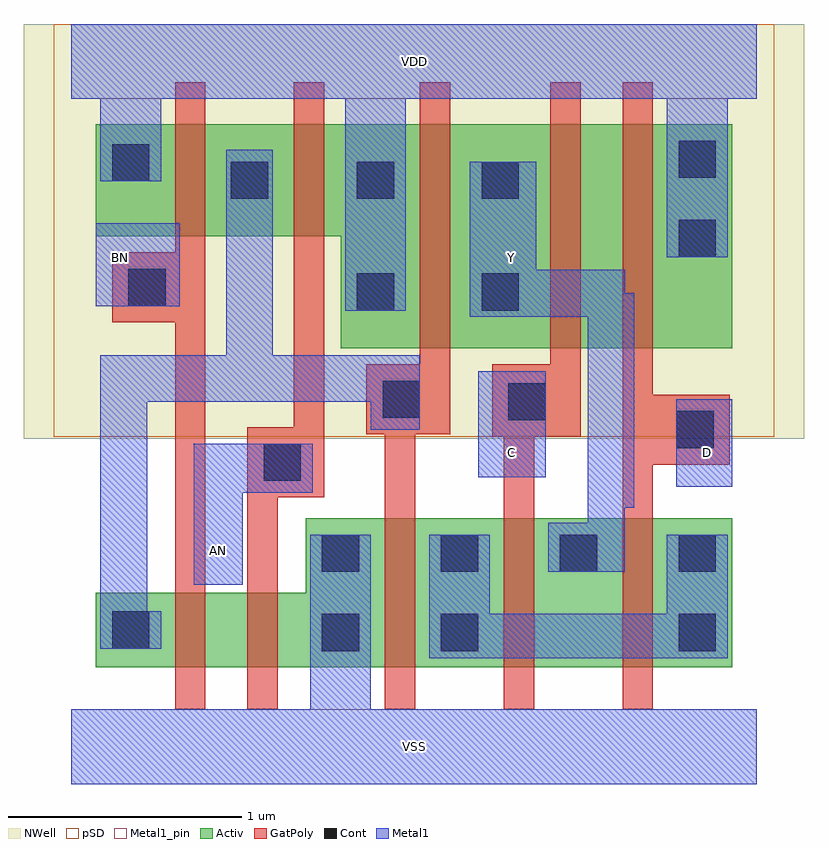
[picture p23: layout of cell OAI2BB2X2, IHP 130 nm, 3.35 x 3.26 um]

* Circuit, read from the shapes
.subckt OAI2BB2X2 AN BN C D VDD VSS Y
XM1 n1 BN n2 VSUBS sg13_lv_nmos w=0.32u l=0.13u
XM2 VSS AN n1 VSUBS sg13_lv_nmos w=0.32u l=0.13u
XM3 n3 n2 VSS VSUBS sg13_lv_nmos w=0.64u l=0.13u
XM4 Y C n3 VSUBS sg13_lv_nmos w=0.64u l=0.13u
XM5 n3 D Y VSUBS sg13_lv_nmos w=0.64u l=0.13u
XM6 n2 BN VDD n4 sg13_lv_pmos w=0.48u l=0.13u
XM7 VDD AN n2 n4 sg13_lv_pmos w=0.48u l=0.13u
XM8 Y n2 VDD n4 sg13_lv_pmos w=0.96u l=0.13u
XM9 n5 C Y n4 sg13_lv_pmos w=0.96u l=0.13u
XM10 VDD D n5 n4 sg13_lv_pmos w=0.96u l=0.13u
.ends

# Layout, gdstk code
import gdstk
lib = gdstk.Library(unit=1e-6, precision=1e-09)
def R(c, l, rs):  # rectangles x0, y0, x1, y1
    for r in rs: c.add(gdstk.rectangle(r[:2], r[2:], *l))
def A(c, l, x, y, w, h, nx, ny, dx, dy):  # array of equal rectangles
    R(c, l, [(x+i*dx, y+j*dy, x+i*dx+w, y+j*dy+h) for i in range(nx) for j in range(ny)])
def P(c, l, *ps):  # polygons
    for p in ps: c.add(gdstk.Polygon(p, *l))
Activ = (1, 0)
GatPoly = (5, 0)
Cont = (6, 0)
Metal1 = (8, 0)
Metal1_pin = (8, 2)
pSD = (14, 0)
NWell = (31, 0)

oai2bb2x2 = lib.new_cell('OAI2BB2X2')
P(oai2bb2x2, Activ, [(0.105,0.34),(0.105,0.66),(1.005,0.66),(1.005,0.98),(2.835,0.98),(2.835,0.34)],
  [(1.155,1.71),(1.155,2.19),(0.105,2.19),(0.105,2.67),(2.835,2.67),(2.835,1.71)])
P(oai2bb2x2, GatPoly, [(1.855,0.16),(1.855,1.33),(1.805,1.33),(1.805,1.64),(2.055,1.64),(2.055,2.85),(2.185,2.85),(2.185,1.33),(1.985,1.33),(1.985,0.16)],
  [(1.345,0.16),(1.345,1.34),(1.265,1.34),(1.265,1.64),(1.495,1.64),(1.495,2.85),(1.625,2.85),(1.625,1.34),(1.475,1.34),(1.475,0.16)],
  [(2.365,0.16),(2.365,2.85),(2.495,2.85),(2.495,1.51),(2.825,1.51),(2.825,1.21),(2.495,1.21),(2.495,0.16)],
  [(0.755,0.16),(0.755,1.37),(0.955,1.37),(0.955,2.85),(1.085,2.85),(1.085,1.07),(0.885,1.07),(0.885,0.16)],
  [(0.445,0.16),(0.445,1.82),(0.175,1.82),(0.175,2.12),(0.445,2.12),(0.445,2.85),(0.575,2.85),(0.575,0.16)])
A(oai2bb2x2, Cont, 1.075, 0.75, 0.16, 0.16, 4, 1, 0.51, 0)
R(oai2bb2x2, Cont, [(1.075,0.41,1.235,0.57), (1.585,0.41,1.745,0.57), (2.605,0.41,2.765,0.57), (0.175,0.42,0.335,0.58), (0.825,1.14,0.985,1.3), (2.595,1.28,2.755,1.44), (1.875,1.4,2.035,1.56), (1.335,1.41,1.495,1.57), (1.225,1.87,1.385,2.03), (1.76,1.87,1.92,2.03), (0.245,1.89,0.405,2.05), (2.605,2.1,2.765,2.26), (0.685,2.35,0.845,2.51), (1.225,2.35,1.385,2.51), (1.76,2.35,1.92,2.51), (0.175,2.425,0.335,2.585), (2.605,2.44,2.765,2.6)])
R(oai2bb2x2, Metal1, [(2.595,1.115,2.835,1.49), (1.745,1.155,2.035,1.61), (0.105,1.89,0.465,2.245)])
P(oai2bb2x2, Metal1, [(1.535,0.38),(1.535,0.91),(1.795,0.91),(1.795,0.57),(2.555,0.57),(2.555,0.91),(2.815,0.91),(2.815,0.38)],
  [(2.045,0.75),(2.045,0.96),(2.215,0.96),(2.215,1.845),(1.71,1.845),(1.71,2.51),(1.995,2.51),(1.995,2.045),(2.375,2.045),(2.375,1.945),(2.415,1.945),(2.415,1.025),(2.375,1.025),(2.375,0.75)],
  [(0,-0.16),(0,0.16),(1.025,0.16),(1.025,0.91),(1.285,0.91),(1.285,0.16),(2.94,0.16),(2.94,-0.16)],
  [(1.175,1.87),(1.175,2.78),(0.385,2.78),(0.385,2.425),(0.125,2.425),(0.125,2.78),(0,2.78),(0,3.1),(2.94,3.1),(2.94,2.78),(2.815,2.78),(2.815,2.1),(2.555,2.1),(2.555,2.78),(1.435,2.78),(1.435,1.87)],
  [(0.125,0.42),(0.125,1.68),(0.665,1.68),(0.665,2.56),(0.865,2.56),(0.865,1.68),(1.495,1.68),(1.495,1.36),(1.285,1.36),(1.285,1.48),(0.325,1.48),(0.325,0.58),(0.385,0.58),(0.385,0.42)],
  [(0.525,0.695),(0.525,1.3),(1.035,1.3),(1.035,1.09),(0.735,1.09),(0.735,0.695)])
R(oai2bb2x2, Metal1_pin, [(0,-0.16,2.94,0.16), (2.595,1.115,2.835,1.49), (1.745,1.155,2.035,1.61), (0.105,1.89,0.465,2.245), (0,2.78,2.94,3.1)])
P(oai2bb2x2, Metal1_pin, [(2.045,0.75),(2.045,0.96),(2.215,0.96),(2.215,1.845),(1.71,1.845),(1.71,2.51),(1.995,2.51),(1.995,2.045),(2.375,2.045),(2.375,1.945),(2.415,1.945),(2.415,1.025),(2.375,1.025),(2.375,0.75)],
  [(0.525,0.695),(0.525,1.3),(1.035,1.3),(1.035,1.09),(0.735,1.09),(0.735,0.695)])
R(oai2bb2x2, pSD, [(-0.075,1.33,3.015,3.1)])
R(oai2bb2x2, NWell, [(-0.205,1.32,3.145,3.1)])
oai2bb2x2.add(gdstk.Label('Y', (1.89,2.1), layer=8, texttype=25))
oai2bb2x2.add(gdstk.Label('C', (1.89,1.26), layer=8, texttype=25))
oai2bb2x2.add(gdstk.Label('AN', (0.63,0.84), layer=8, texttype=25))
oai2bb2x2.add(gdstk.Label('D', (2.73,1.26), layer=8, texttype=25))
oai2bb2x2.add(gdstk.Label('BN', (0.21,2.1), layer=8, texttype=25))
oai2bb2x2.add(gdstk.Label('VSS', (1.47,0), layer=8, texttype=25))
oai2bb2x2.add(gdstk.Label('VDD', (1.47,2.94), layer=8, texttype=25))

lib.write_gds('OAI2BB2X2.gds')
